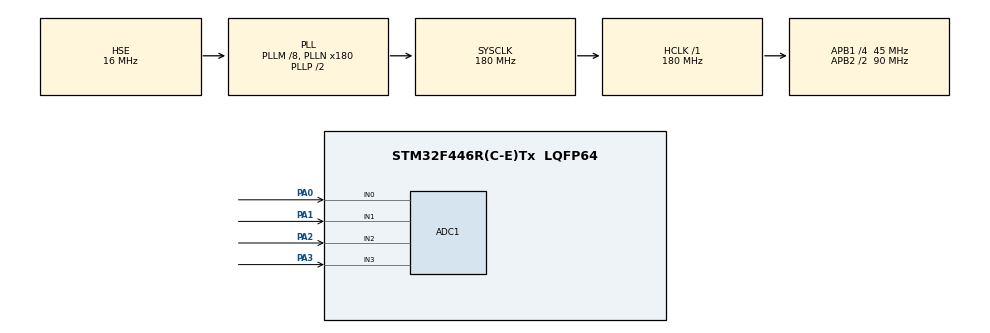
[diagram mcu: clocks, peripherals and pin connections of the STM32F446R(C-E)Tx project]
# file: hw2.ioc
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ADC1.Channel-0\#ChannelRegularConversion=ADC_CHANNEL_0
ADC1.Channel-1\#ChannelRegularConversion=ADC_CHANNEL_1
ADC1.Channel-2\#ChannelRegularConversion=ADC_CHANNEL_2
ADC1.Channel-3\#ChannelRegularConversion=ADC_CHANNEL_3
ADC1.DMAContinuousRequests=ENABLE
ADC1.ExternalTrigConv=ADC_EXTERNALTRIGCONV_T8_TRGO
ADC1.NbrOfConversion=4
ADC1.NbrOfConversionFlag=1
ADC1.Rank-0\#ChannelRegularConversion=1
ADC1.Rank-1\#ChannelRegularConversion=2
ADC1.Rank-2\#ChannelRegularConversion=3
ADC1.Rank-3\#ChannelRegularConversion=4
ADC1.SamplingTime-0\#ChannelRegularConversion=ADC_SAMPLETIME_15CYCLES
ADC1.SamplingTime-1\#ChannelRegularConversion=ADC_SAMPLETIME_15CYCLES
ADC1.SamplingTime-2\#ChannelRegularConversion=ADC_SAMPLETIME_15CYCLES
ADC1.SamplingTime-3\#ChannelRegularConversion=ADC_SAMPLETIME_15CYCLES
ADC1.ScanConvMode=ENABLE
ADC1.master=1
Dma.ADC1.0.Direction=DMA_PERIPH_TO_MEMORY
Dma.ADC1.0.FIFOMode=DMA_FIFOMODE_DISABLE
Dma.ADC1.0.Instance=DMA2_Stream0
Dma.ADC1.0.MemDataAlignment=DMA_MDATAALIGN_WORD
Dma.ADC1.0.MemInc=DMA_MINC_ENABLE
Dma.ADC1.0.Mode=DMA_CIRCULAR
Dma.ADC1.0.PeriphDataAlignment=DMA_PDATAALIGN_WORD
Dma.ADC1.0.PeriphInc=DMA_PINC_DISABLE
Dma.ADC1.0.Priority=DMA_PRIORITY_LOW
Dma.Request0=ADC1
Mcu.Family=STM32F4
Mcu.Name=STM32F446R(C-E)Tx
Mcu.Package=LQFP64
NVIC.ADC_IRQn=true\:0\:0\:false\:false\:true\:true\:true\:true
NVIC.DMA2_Stream0_IRQn=true\:0\:0\:false\:false\:true\:false\:true\:true
NVIC.PriorityGroup=NVIC_PRIORITYGROUP_4
NVIC.TIM8_UP_TIM13_IRQn=true\:0\:0\:false\:false\:true\:true\:true\:true
PA0-WKUP.Signal=ADCx_IN0
PA1.Signal=ADCx_IN1
PA13.Mode=Serial_Wire
PA13.Signal=SYS_JTMS-SWDIO
PA14.Mode=Serial_Wire
PA14.Signal=SYS_JTCK-SWCLK
PA2.Signal=ADCx_IN2
PA3.Signal=ADCx_IN3
PH0-OSC_IN.Mode=HSE-External-Oscillator
PH0-OSC_IN.Signal=RCC_OSC_IN
PH1-OSC_OUT.Mode=HSE-External-Oscillator
PH1-OSC_OUT.Signal=RCC_OSC_OUT
ProjectManager.HeapSize=0x200
ProjectManager.StackSize=0x400
ProjectManager.TargetToolchain=STM32CubeIDE
RCC.AHBFreq_Value=180000000
RCC.APB1CLKDivider=RCC_HCLK_DIV4
RCC.APB1Freq_Value=45000000
RCC.APB1TimFreq_Value=90000000
RCC.APB2CLKDivider=RCC_HCLK_DIV2
RCC.APB2Freq_Value=90000000
RCC.APB2TimFreq_Value=180000000
RCC.CortexFreq_Value=180000000
RCC.HCLKFreq_Value=180000000
RCC.HSE_VALUE=16000000
RCC.PLLM=8
RCC.PLLN=180
RCC.PLLSourceVirtual=RCC_PLLSOURCE_HSE
RCC.SYSCLKFreq_VALUE=180000000
RCC.SYSCLKSource=RCC_SYSCLKSOURCE_PLLCLK
RCC.USBFreq_Value=180000000
RCC.VCOOutputFreq_Value=360000000
SH.ADCx_IN0.0=ADC1_IN0,IN0
SH.ADCx_IN1.0=ADC1_IN1,IN1
SH.ADCx_IN2.0=ADC1_IN2,IN2
SH.ADCx_IN3.0=ADC1_IN3,IN3
TIM8.Period=10000-1
TIM8.Prescaler=180-1
TIM8.TIM_MasterOutputTrigger=TIM_TRGO_UPDATE
VP_TIM8_VS_ClockSourceINT.Mode=Internal
board=custom

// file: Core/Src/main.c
/* USER CODE BEGIN Header */
/**
  ******************************************************************************
  * @file           : main.c
  * @brief          : Main program body
  ******************************************************************************
  * @attention
  *
  * Copyright (c) 2026 STMicroelectronics.
  * All rights reserved.
  *
  * This software is licensed under terms that can be found in the LICENSE file
  * in the root directory of this software component.
  * If no LICENSE file comes with this software, it is provided AS-IS.
  *
  ******************************************************************************
  */
/* USER CODE END Header */
#include "main.h"
#include "adc.h"
#include "dma.h"
#include "tim.h"
#include "gpio.h"

/* USER CODE BEGIN PD */

#define MOV_MEAN_SIZE 100
#define NORM_SCALE 1000 // 1000으로 일단 정규화

/* USER CODE END PD */

/* USER CODE BEGIN PV */

uint32_t adcl_buffer[4] = {0, };
volatile uint8_t adc_update_flag = 0;

uint16_t adc1_value;
uint16_t mov_mean_buffer[MOV_MEAN_SIZE] = {0, };
uint8_t mov_mean_index = 0; // 이동평균 인덱스
uint16_t mov_mean_ = 0; // 이동평균 값
volatile uint32_t adc_cb_count = 0;

uint16_t temp_norm_value = 0; // 디버거로 보기위해 밖으로 뺌

uint16_t Max_value = 0; // 정규화를 위한 최대값
uint16_t Min_value = 0xFFFF; // 정규화를 위한 최소값

/* USER CODE END PV */

void SystemClock_Config(void);

int main(void)
{

  /* MCU Configuration--------------------------------------------------------*/

  /* Reset of all peripherals, Initializes the Flash interface and the Systick. */
  HAL_Init();

  /* Configure the system clock */
  SystemClock_Config();

  /* Initialize all configured peripherals */
  MX_GPIO_Init();
  MX_DMA_Init();
  MX_ADC1_Init();
  MX_TIM8_Init();
  /* USER CODE BEGIN 2 */

  HAL_TIM_Base_Start_IT(&htim8);
  HAL_ADC_Start_DMA(&hadc1, adcl_buffer, 4);

  /* USER CODE END 2 */

  /* Infinite loop */
  while (1)
  {
	  if(adc_update_flag)
	  {
		 adc_update_flag = 0;
		 adc1_value = adcl_buffer[0]; // 값 복사 원본 값

		if(adc1_value > Max_value)
			Max_value = adc1_value; // 최대값 갱신
		if(adc1_value < Min_value)
			Min_value = adc1_value; // 최소값 갱신

		if (Max_value <= Min_value)
			temp_norm_value = 0;          // 아직 범위가 없음 (0으로 나누기 방지)
		else if (adc1_value <= Min_value)
			temp_norm_value = 0;
		else if (adc1_value >= Max_value)
			temp_norm_value = NORM_SCALE;
		else
			temp_norm_value = (uint32_t)(adc1_value - Min_value) * NORM_SCALE / (Max_value - Min_value);

  		mov_mean_buffer[mov_mean_index] = adc1_value; // 버퍼에 원시 값 추가
  		mov_mean_index++; // 인덱스에 1 추가
  		if(mov_mean_index >= MOV_MEAN_SIZE) mov_mean_index = 0;

  		uint32_t temp_sum = 0;
  		for(int i = 0; i < MOV_MEAN_SIZE; i++)
  		{
  			temp_sum += mov_mean_buffer[i]; // 값 추가
  		}

		  mov_mean_ = temp_sum / MOV_MEAN_SIZE; // 최종 이동평균 값 구함
	  }
  }
}

void SystemClock_Config(void)
{
  RCC_OscInitTypeDef RCC_OscInitStruct = {0};
  RCC_ClkInitTypeDef RCC_ClkInitStruct = {0};

  /** Configure the main internal regulator output voltage
  */
  __HAL_RCC_PWR_CLK_ENABLE();
  __HAL_PWR_VOLTAGESCALING_CONFIG(PWR_REGULATOR_VOLTAGE_SCALE1);

  /** Initializes the RCC Oscillators according to the specified parameters
  * in the RCC_OscInitTypeDef structure.
  */
  RCC_OscInitStruct.OscillatorType = RCC_OSCILLATORTYPE_HSE;
  RCC_OscInitStruct.HSEState = RCC_HSE_ON;
  RCC_OscInitStruct.PLL.PLLState = RCC_PLL_ON;
  RCC_OscInitStruct.PLL.PLLSource = RCC_PLLSOURCE_HSE;
  RCC_OscInitStruct.PLL.PLLM = 8;
  RCC_OscInitStruct.PLL.PLLN = 180;
  RCC_OscInitStruct.PLL.PLLP = RCC_PLLP_DIV2;
  RCC_OscInitStruct.PLL.PLLQ = 2;
  RCC_OscInitStruct.PLL.PLLR = 2;
  if (HAL_RCC_OscConfig(&RCC_OscInitStruct) != HAL_OK)
  {
    Error_Handler();
  }

  /** Activate the Over-Drive mode
  */
  if (HAL_PWREx_EnableOverDrive() != HAL_OK)
  {
    Error_Handler();
  }

  /** Initializes the CPU, AHB and APB buses clocks
  */
  RCC_ClkInitStruct.ClockType = RCC_CLOCKTYPE_HCLK|RCC_CLOCKTYPE_SYSCLK
                              |RCC_CLOCKTYPE_PCLK1|RCC_CLOCKTYPE_PCLK2;
  RCC_ClkInitStruct.SYSCLKSource = RCC_SYSCLKSOURCE_PLLCLK;
  RCC_ClkInitStruct.AHBCLKDivider = RCC_SYSCLK_DIV1;
  RCC_ClkInitStruct.APB1CLKDivider = RCC_HCLK_DIV4;
  RCC_ClkInitStruct.APB2CLKDivider = RCC_HCLK_DIV2;

  if (HAL_RCC_ClockConfig(&RCC_ClkInitStruct, FLASH_LATENCY_5) != HAL_OK)
  {
    Error_Handler();
  }
}

/* USER CODE BEGIN 4 */
void HAL_ADC_ConvCpltCallback(ADC_HandleTypeDef* hadc)
{

	if(hadc->Instance == ADC1)
	{
		adc1_value = adcl_buffer[0];
		adc_update_flag = 1;
	}
}

/* USER CODE END 4 */

void Error_Handler(void)
{
  __disable_irq();
  while (1)
  {
  }
}
